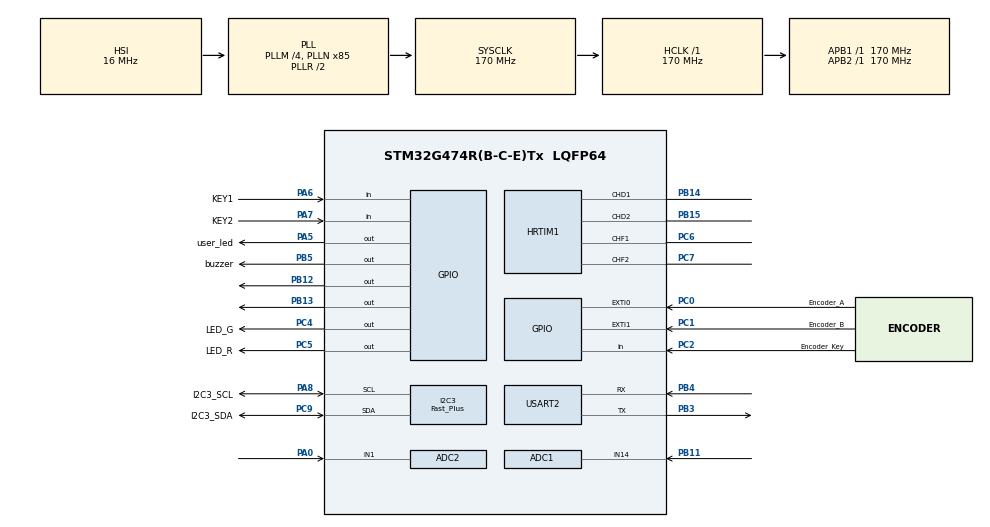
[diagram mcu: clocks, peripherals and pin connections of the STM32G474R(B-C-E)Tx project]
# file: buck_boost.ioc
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ADC1.Channel-2\#ChannelRegularConversion=ADC_CHANNEL_14
ADC1.NbrOfConversionFlag=1
ADC1.OffsetNumber-2\#ChannelRegularConversion=ADC_OFFSET_NONE
ADC1.Rank-2\#ChannelRegularConversion=1
ADC1.SamplingTime-2\#ChannelRegularConversion=ADC_SAMPLETIME_2CYCLES_5
ADC1.master=1
ADC2.Channel-0\#ChannelRegularConversion=ADC_CHANNEL_1
ADC2.NbrOfConversionFlag=1
ADC2.OffsetNumber-0\#ChannelRegularConversion=ADC_OFFSET_NONE
ADC2.Rank-0\#ChannelRegularConversion=1
ADC2.SamplingTime-0\#ChannelRegularConversion=ADC_SAMPLETIME_2CYCLES_5
ADC5.Channel-0\#ChannelRegularConversion=ADC_CHANNEL_TEMPSENSOR_ADC5
ADC5.NbrOfConversionFlag=1
ADC5.OffsetNumber-0\#ChannelRegularConversion=ADC_OFFSET_NONE
ADC5.Rank-0\#ChannelRegularConversion=1
ADC5.SamplingTime-0\#ChannelRegularConversion=ADC_SAMPLETIME_2CYCLES_5
Dma.ADC1.0.Direction=DMA_PERIPH_TO_MEMORY
Dma.ADC1.0.EventEnable=DISABLE
Dma.ADC1.0.Instance=DMA1_Channel1
Dma.ADC1.0.MemDataAlignment=DMA_MDATAALIGN_HALFWORD
Dma.ADC1.0.MemInc=DMA_MINC_ENABLE
Dma.ADC1.0.Mode=DMA_CIRCULAR
Dma.ADC1.0.PeriphDataAlignment=DMA_PDATAALIGN_HALFWORD
Dma.ADC1.0.PeriphInc=DMA_PINC_DISABLE
Dma.ADC1.0.Polarity=HAL_DMAMUX_REQ_GEN_RISING
Dma.ADC1.0.Priority=DMA_PRIORITY_LOW
Dma.ADC1.0.RequestNumber=1
Dma.ADC1.0.SignalID=NONE
Dma.ADC1.0.SyncEnable=DISABLE
Dma.ADC1.0.SyncPolarity=HAL_DMAMUX_SYNC_NO_EVENT
Dma.ADC1.0.SyncRequestNumber=1
Dma.ADC1.0.SyncSignalID=NONE
Dma.Request0=ADC1
Dma.Request1=USART2_RX
Dma.Request2=USART2_TX
Dma.USART2_RX.1.Direction=DMA_PERIPH_TO_MEMORY
Dma.USART2_RX.1.EventEnable=DISABLE
Dma.USART2_RX.1.Instance=DMA1_Channel2
Dma.USART2_RX.1.MemDataAlignment=DMA_MDATAALIGN_BYTE
Dma.USART2_RX.1.MemInc=DMA_MINC_ENABLE
Dma.USART2_RX.1.Mode=DMA_NORMAL
Dma.USART2_RX.1.PeriphDataAlignment=DMA_PDATAALIGN_BYTE
Dma.USART2_RX.1.PeriphInc=DMA_PINC_DISABLE
Dma.USART2_RX.1.Polarity=HAL_DMAMUX_REQ_GEN_RISING
Dma.USART2_RX.1.Priority=DMA_PRIORITY_LOW
Dma.USART2_RX.1.RequestNumber=1
Dma.USART2_RX.1.SignalID=NONE
Dma.USART2_RX.1.SyncEnable=DISABLE
Dma.USART2_RX.1.SyncPolarity=HAL_DMAMUX_SYNC_NO_EVENT
Dma.USART2_RX.1.SyncRequestNumber=1
Dma.USART2_RX.1.SyncSignalID=NONE
Dma.USART2_TX.2.Direction=DMA_MEMORY_TO_PERIPH
Dma.USART2_TX.2.EventEnable=DISABLE
Dma.USART2_TX.2.Instance=DMA1_Channel3
Dma.USART2_TX.2.MemDataAlignment=DMA_MDATAALIGN_BYTE
Dma.USART2_TX.2.MemInc=DMA_MINC_ENABLE
Dma.USART2_TX.2.Mode=DMA_NORMAL
Dma.USART2_TX.2.PeriphDataAlignment=DMA_PDATAALIGN_BYTE
Dma.USART2_TX.2.PeriphInc=DMA_PINC_DISABLE
Dma.USART2_TX.2.Polarity=HAL_DMAMUX_REQ_GEN_RISING
Dma.USART2_TX.2.Priority=DMA_PRIORITY_LOW
Dma.USART2_TX.2.RequestNumber=1
Dma.USART2_TX.2.SignalID=NONE
Dma.USART2_TX.2.SyncEnable=DISABLE
Dma.USART2_TX.2.SyncPolarity=HAL_DMAMUX_SYNC_NO_EVENT
Dma.USART2_TX.2.SyncRequestNumber=1
Dma.USART2_TX.2.SyncSignalID=NONE
FREERTOS.Tasks01=Sys_LED_Task,8,128,StartDefaultTask,Default,NULL,Dynamic,NULL,NULL;KEY_Task,40,128,StartTask02,Default,NULL,Dynamic,NULL,NULL
HRTIM1.CompareUnit1-Output_TD1TD2=HRTIM_COMPAREUNIT_1
HRTIM1.CompareUnit2-Output_TD1TD2=__NULL
HRTIM1.CompareUnit3-Output_TD1TD2=HRTIM_COMPAREUNIT_3
HRTIM1.CompareUnit4-Output_TD1TD2=__NULL
HRTIM1.CompareValue1-Output_TD1TD2=15000
HRTIM1.CompareValue3-Output_TD1TD2=7500
HRTIM1.DeadTimeInsertion-Output_TD1TD2=HRTIM_TIMDEADTIMEINSERTION_ENABLED
HRTIM1.FallingLock-Output_TD1TD2=HRTIM_TIMDEADTIME_FALLINGLOCK_READONLY
HRTIM1.FallingSignLock-Output_TD1TD2=HRTIM_TIMDEADTIME_FALLINGSIGNLOCK_READONLY
HRTIM1.FallingValue-Output_TD1TD2=100
HRTIM1.InterruptRequests1-Output_TD1TD2=HRTIM_TIM_IT_CMP1
HRTIM1.NumberInterruptRequests-Output_TD1TD2=1
HRTIM1.NumberResetSource1-Output_TD1TD2=1
HRTIM1.NumberSetSource1-Output_TD1TD2=1
HRTIM1.Periode_TD=30000
HRTIM1.Periode_TF=30000
HRTIM1.PreloadEnable-Output_TD1TD2=HRTIM_PRELOAD_ENABLED
HRTIM1.RepetitionUpdate-Output_TD1TD2=HRTIM_UPDATEONREPETITION_ENABLED
HRTIM1.RepetitionUpdate-Output_TF1TF2=HRTIM_UPDATEONREPETITION_ENABLED
HRTIM1.ResetOutput1_Source1-Output_TD1TD2=HRTIM_OUTPUTRESET_TIMCMP1
HRTIM1.RisingLock-Output_TD1TD2=HRTIM_TIMDEADTIME_RISINGLOCK_READONLY
HRTIM1.RisingSignLock-Output_TD1TD2=HRTIM_TIMDEADTIME_RISINGSIGNLOCK_READONLY
HRTIM1.RisingValue-Output_TD1TD2=137
HRTIM1.SetOutput1_Source1-Output_TD1TD2=HRTIM_OUTPUTSET_TIMPER
I2C3.I2C_Speed_Mode=I2C_Fast_Plus
I2C3.Timing=0x4052060F
Mcu.Family=STM32G4
Mcu.Name=STM32G474R(B-C-E)Tx
Mcu.Package=LQFP64
NVIC.ADC1_2_IRQn=true\:5\:0\:false\:false\:true\:true\:true\:true\:true
NVIC.DMA1_Channel1_IRQn=true\:5\:0\:false\:false\:true\:true\:false\:true\:true
NVIC.DMA1_Channel2_IRQn=true\:5\:0\:false\:false\:true\:true\:false\:true\:true
NVIC.DMA1_Channel3_IRQn=true\:5\:0\:false\:false\:true\:true\:false\:true\:true
NVIC.EXTI0_IRQn=true\:6\:0\:true\:false\:true\:true\:true\:true\:true
NVIC.EXTI1_IRQn=true\:6\:0\:true\:false\:true\:true\:true\:true\:true
NVIC.HRTIM1_TIMD_IRQn=true\:5\:0\:true\:false\:true\:true\:true\:true\:true
NVIC.HRTIM1_TIMF_IRQn=true\:5\:0\:false\:false\:true\:true\:true\:true\:true
NVIC.PriorityGroup=NVIC_PRIORITYGROUP_4
NVIC.TIM1_UP_TIM16_IRQn=true\:15\:0\:false\:false\:true\:false\:false\:true\:true
NVIC.TimeBase=TIM1_UP_TIM16_IRQn
NVIC.TimeBaseIP=TIM1
NVIC.USART2_IRQn=true\:5\:0\:false\:false\:true\:true\:true\:true\:true
PA0.Mode=IN1-Single-Ended
PA0.Signal=ADC2_IN1
PA5.GPIO_Label=user_led
PA5.GPIO_Speed=GPIO_SPEED_FREQ_MEDIUM
PA5.PinState=GPIO_PIN_RESET
PA5.Signal=GPIO_Output
PA6.GPIO_Label=KEY1
PA6.Signal=GPIO_Input
PA7.GPIO_Label=KEY2
PA7.Signal=GPIO_Input
PA8.GPIO_Label=I2C3_SCL
PA8.GPIO_Pu=GPIO_PULLUP
PA8.GPIO_Speed=GPIO_SPEED_FREQ_VERY_HIGH
PA8.Mode=I2C
PA8.Signal=I2C3_SCL
PB11.Mode=IN14-Single-Ended
PB11.Signal=ADC1_IN14
PB12.Signal=GPIO_Output
PB13.Signal=GPIO_Output
PB14.Mode=Output_TD1TD2
PB14.Signal=HRTIM1_CHD1
PB15.Mode=Output_TD1TD2
PB15.Signal=HRTIM1_CHD2
PB3.Mode=Asynchronous
PB3.Signal=USART2_TX
PB4.Mode=Asynchronous
PB4.Signal=USART2_RX
PB5.GPIO_Label=buzzer
PB5.GPIO_Speed=GPIO_SPEED_FREQ_MEDIUM
PB5.PinState=GPIO_PIN_SET
PB5.Signal=GPIO_Output
PC0.GPIO_Label=Encoder_A
PC0.GPIO_ModeDefaultEXTI=GPIO_MODE_IT_FALLING
PC0.Signal=GPXTI0
PC1.GPIO_Label=Encoder_B
PC1.GPIO_ModeDefaultEXTI=GPIO_MODE_IT_FALLING
PC1.Signal=GPXTI1
PC14-OSC32_IN.Mode=LSE-External-Oscillator
PC14-OSC32_IN.Signal=RCC_OSC32_IN
PC15-OSC32_OUT.Mode=LSE-External-Oscillator
PC15-OSC32_OUT.Signal=RCC_OSC32_OUT
PC2.GPIO_Label=Encoder_Key
PC2.GPIO_PuPd=GPIO_NOPULL
PC2.Signal=GPIO_Input
PC4.GPIO_Label=LED_G
PC4.GPIO_Speed=GPIO_SPEED_FREQ_MEDIUM
PC4.PinState=GPIO_PIN_SET
PC4.Signal=GPIO_Output
PC5.GPIO_Label=LED_R
PC5.GPIO_Speed=GPIO_SPEED_FREQ_MEDIUM
PC5.PinState=GPIO_PIN_SET
PC5.Signal=GPIO_Output
PC6.Mode=Output_TF1TF2
PC6.Signal=HRTIM1_CHF1
PC7.Mode=Output_TF1TF2
PC7.Signal=HRTIM1_CHF2
PC9.GPIO_Label=I2C3_SDA
PC9.GPIO_Pu=GPIO_PULLUP
PC9.GPIO_Speed=GPIO_SPEED_FREQ_VERY_HIGH
PC9.Mode=I2C
PC9.Signal=I2C3_SDA
PF0-OSC_IN.Mode=HSE-External-Oscillator
PF0-OSC_IN.Signal=RCC_OSC_IN
PF1-OSC_OUT.Mode=HSE-External-Oscillator
PF1-OSC_OUT.Signal=RCC_OSC_OUT
ProjectManager.HeapSize=0x200
ProjectManager.StackSize=0x400
ProjectManager.TargetToolchain=CMake
RCC.ADC12Freq_Value=170000000
RCC.ADC345Freq_Value=170000000
RCC.AHBFreq_Value=170000000
RCC.APB1Freq_Value=170000000
RCC.APB1TimFreq_Value=170000000
RCC.APB2Freq_Value=170000000
RCC.APB2TimFreq_Value=170000000
RCC.CortexFreq_Value=170000000
RCC.EXTERNAL_CLOCK_VALUE=12288000
RCC.HCLKFreq_Value=170000000
RCC.HSE_VALUE=25000000
RCC.HSI48_VALUE=48000000
RCC.HSI_VALUE=16000000
RCC.PLLM=RCC_PLLM_DIV4
RCC.PLLN=85
RCC.SYSCLKFreq_VALUE=170000000
RCC.SYSCLKSource=RCC_SYSCLKSOURCE_PLLCLK
RCC.USBFreq_Value=170000000
RCC.VCOOutputFreq_Value=340000000
USART2.VirtualMode-Asynchronous=VM_ASYNC
VP_ADC5_TempSens_Input.Mode=IN-TempSens
VP_FREERTOS_VS_CMSIS_V2.Mode=CMSIS_V2
VP_SYS_VS_DBSignals.Mode=DisableDeadBatterySignals
VP_SYS_VS_tim1.Mode=TIM1
board=custom

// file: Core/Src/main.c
/* USER CODE BEGIN Header */
/**
  ******************************************************************************
  * @file           : main.c
  * @brief          : Main program body
  ******************************************************************************
  * @attention
  *
  * Copyright (c) 2025 STMicroelectronics.
  * All rights reserved.
  *
  * This software is licensed under terms that can be found in the LICENSE file
  * in the root directory of this software component.
  * If no LICENSE file comes with this software, it is provided AS-IS.
  *
  ******************************************************************************
  */
/* USER CODE END Header */
#include "main.h"
#include "cmsis_os.h"
#include "adc.h"
#include "dma.h"
#include "hrtim.h"
#include "i2c.h"
#include "usart.h"
#include "gpio.h"

/* USER CODE BEGIN Includes */
#include "config.h"
/* USER CODE END Includes */

void SystemClock_Config(void);
void MX_FREERTOS_Init(void);

int main(void)
{

  /* MCU Configuration--------------------------------------------------------*/

  /* Reset of all peripherals, Initializes the Flash interface and the Systick. */
  HAL_Init();

  /* Configure the system clock */
  SystemClock_Config();

  /* Initialize all configured peripherals */
  MX_GPIO_Init();
  MX_DMA_Init();
  MX_HRTIM1_Init();
  MX_I2C3_Init();
  MX_USART2_UART_Init();
  MX_ADC1_Init();
  MX_ADC5_Init();
  MX_ADC2_Init();
  /* USER CODE BEGIN 2 */
	HAL_GPIO_WritePin(user_led_GPIO_Port,user_led_Pin,GPIO_PIN_SET);
	HAL_HRTIM_WaveformCountStart(&hhrtim1, HRTIM_TIMERID_TIMER_D); //pwm波输出
  HAL_HRTIM_WaveformOutputStart(&hhrtim1, HRTIM_OUTPUT_TD1 | HRTIM_OUTPUT_TD2); // to generate pwm wave .
	HAL_GPIO_WritePin(buzzer_GPIO_Port,buzzer_Pin,GPIO_PIN_RESET);
	OLED_Init();
	OLED_Clear();
	OLED_Update();
	HAL_GPIO_WritePin(LED_G_GPIO_Port,LED_G_Pin,GPIO_PIN_SET);
	HAL_GPIO_WritePin(LED_R_GPIO_Port,LED_R_Pin,GPIO_PIN_SET);
	page_task();//OLED屏幕初始化显示
  HAL_ADC_Start_DMA(&hadc1, (uint32_t*)adc1_buf, 1);
  HAL_UARTEx_ReceiveToIdle_DMA(&huart2,(uint8_t *)&u1.DATA,1);
  HAL_ADC_Stop(&hadc1); // 重置ADC状态
  HAL_ADC_Stop(&hadc2); // 重置ADC状态
  HAL_ADC_Stop(&hadc5); // 重置ADC状态
  HAL_ADCEx_Calibration_Start(&hadc1, ADC_SINGLE_ENDED); // 校准ADC1
  HAL_ADCEx_Calibration_Start(&hadc2, ADC_SINGLE_ENDED); // 校准ADC1
  HAL_ADCEx_Calibration_Start(&hadc5, ADC_SINGLE_ENDED); // 校准ADC1
  /* USER CODE END 2 */

  /* Init scheduler */
  osKernelInitialize();  /* Call init function for freertos objects (in cmsis_os2.c) */
  MX_FREERTOS_Init();

  /* Start scheduler */
  osKernelStart();

  /* We should never get here as control is now taken by the scheduler */

  /* Infinite loop */
  while (1)
  {

  }
}

void SystemClock_Config(void)
{
  RCC_OscInitTypeDef RCC_OscInitStruct = {0};
  RCC_ClkInitTypeDef RCC_ClkInitStruct = {0};

  /** Configure the main internal regulator output voltage
  */
  HAL_PWREx_ControlVoltageScaling(PWR_REGULATOR_VOLTAGE_SCALE1_BOOST);

  /** Initializes the RCC Oscillators according to the specified parameters
  * in the RCC_OscInitTypeDef structure.
  */
  RCC_OscInitStruct.OscillatorType = RCC_OSCILLATORTYPE_HSI;
  RCC_OscInitStruct.HSIState = RCC_HSI_ON;
  RCC_OscInitStruct.HSICalibrationValue = RCC_HSICALIBRATION_DEFAULT;
  RCC_OscInitStruct.PLL.PLLState = RCC_PLL_ON;
  RCC_OscInitStruct.PLL.PLLSource = RCC_PLLSOURCE_HSI;
  RCC_OscInitStruct.PLL.PLLM = RCC_PLLM_DIV4;
  RCC_OscInitStruct.PLL.PLLN = 85;
  RCC_OscInitStruct.PLL.PLLP = RCC_PLLP_DIV2;
  RCC_OscInitStruct.PLL.PLLQ = RCC_PLLQ_DIV2;
  RCC_OscInitStruct.PLL.PLLR = RCC_PLLR_DIV2;
  if (HAL_RCC_OscConfig(&RCC_OscInitStruct) != HAL_OK)
  {
    Error_Handler();
  }

  /** Initializes the CPU, AHB and APB buses clocks
  */
  RCC_ClkInitStruct.ClockType = RCC_CLOCKTYPE_HCLK|RCC_CLOCKTYPE_SYSCLK
                              |RCC_CLOCKTYPE_PCLK1|RCC_CLOCKTYPE_PCLK2;
  RCC_ClkInitStruct.SYSCLKSource = RCC_SYSCLKSOURCE_PLLCLK;
  RCC_ClkInitStruct.AHBCLKDivider = RCC_SYSCLK_DIV1;
  RCC_ClkInitStruct.APB1CLKDivider = RCC_HCLK_DIV1;
  RCC_ClkInitStruct.APB2CLKDivider = RCC_HCLK_DIV1;

  if (HAL_RCC_ClockConfig(&RCC_ClkInitStruct, FLASH_LATENCY_4) != HAL_OK)
  {
    Error_Handler();
  }
}

void HAL_TIM_PeriodElapsedCallback(TIM_HandleTypeDef *htim)
{
  if (htim->Instance == TIM1)
  {
    HAL_IncTick();
  }
}

void Error_Handler(void)
{
  __disable_irq();
  while (1)
  {
  }
}

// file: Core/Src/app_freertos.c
/* USER CODE BEGIN Header */
/**
  ******************************************************************************
  * File Name          : app_freertos.c
  * Description        : Code for freertos applications
  ******************************************************************************
  * @attention
  *
  * Copyright (c) 2025 STMicroelectronics.
  * All rights reserved.
  *
  * This software is licensed under terms that can be found in the LICENSE file
  * in the root directory of this software component.
  * If no LICENSE file comes with this software, it is provided AS-IS.
  *
  ******************************************************************************
  */
/* USER CODE END Header */

#include "FreeRTOS.h"
#include "task.h"
#include "main.h"
#include "cmsis_os.h"

/* USER CODE BEGIN Includes */
#include "hrtim.h"
#include "queue.h"
#include "config.h"
#include <stdint.h>
#include <stdio.h>
#include <sys/types.h>
/* USER CODE END Includes */

/* USER CODE BEGIN PD */
uint8_t encoder_flag = 0;
/* USER CODE END PD */

/* Definitions for Sys_LED_Task */
osThreadId_t Sys_LED_TaskHandle;
const osThreadAttr_t Sys_LED_Task_attributes = {
  .name = "Sys_LED_Task",
  .priority = (osPriority_t) osPriorityLow,
  .stack_size = 128 * 4
};
/* Definitions for KEY_Task */
osThreadId_t KEY_TaskHandle;
const osThreadAttr_t KEY_Task_attributes = {
  .name = "KEY_Task",
  .priority = (osPriority_t) osPriorityHigh,
  .stack_size = 128 * 4
};

/* USER CODE BEGIN FunctionPrototypes */
	xQueueHandle  DataQueue;

	int _write(int fd, char *ptr, int len)
  {
    HAL_UART_Transmit(&huart2, (uint8_t*)ptr, len, 0xFFFF);
    return len;
  }

/* USER CODE END FunctionPrototypes */

void StartDefaultTask(void *argument);
void StartTask02(void *argument);

void MX_FREERTOS_Init(void); /* (MISRA C 2004 rule 8.1) */

void MX_FREERTOS_Init(void) {
  /* USER CODE BEGIN Init */
	DataQueue = xQueueCreate(2,9);
  /* USER CODE END Init */

  /* Create the thread(s) */
  /* creation of Sys_LED_Task */
  Sys_LED_TaskHandle = osThreadNew(StartDefaultTask, NULL, &Sys_LED_Task_attributes);

  /* creation of KEY_Task */
  KEY_TaskHandle = osThreadNew(StartTask02, NULL, &KEY_Task_attributes);

}

void StartDefaultTask(void *argument)
{
  /* USER CODE BEGIN StartDefaultTask */
  /* Infinite loop */
  for(;;)
  {
		//System LED ,When you run this code ,the light will sprinkle.
     //HAL_GPIO_TogglePin(user_led_GPIO_Port,user_led_Pin);
     page_task();
     VinSwUVP();
    adc_sample();
    // printf("adc1 value=%.2f\r\n",adc1_buf[0]*3.3f/4095.0f/(4.7f/75.0f));
    osDelay(10);//delay 200ms
  }
  /* USER CODE END StartDefaultTask */
}

void StartTask02(void *argument)
{
  /* USER CODE BEGIN StartTask02 */
  /* Infinite loop */
  for(;;)
  {
    key_Task();
    if(key[1].flag == 1)
    {
      select_flag+=1;
      if (select_flag >4)
      {
        select_flag =0;
      }
      page_task();
      duty_value+=5000;
      HRTIM1->sTimerxRegs[HRTIM_TIMERINDEX_TIMER_D].CMP1xR = duty_value;
      if (duty_value>30000)
      {
        duty_value =0;
      }
      key[1].flag =0;
    }
    else if (key[2].flag == 1)
    {

      key[2].flag =0;
    }
    command_Task();
    osDelay(50);
  }
  /* USER CODE END StartTask02 */
}

/* USER CODE BEGIN Application */
//EC11旋转编码器
void HAL_GPIO_EXTI_Callback(uint16_t GPIO_Pin)
{

  if(GPIO_Pin == Encoder_A_Pin)
  {
     if(HAL_GPIO_ReadPin(Encoder_A_GPIO_Port, Encoder_A_Pin)==GPIO_PIN_RESET)
      {
        if(HAL_GPIO_ReadPin(Encoder_B_GPIO_Port, Encoder_B_Pin)==GPIO_PIN_RESET)
        {
            ECC11_Statues = 1;
        }
      }
  }
  else if(GPIO_Pin == Encoder_B_Pin)
  {
     if(HAL_GPIO_ReadPin(Encoder_B_GPIO_Port, Encoder_B_Pin)==GPIO_PIN_RESET)
      {
        if(HAL_GPIO_ReadPin(Encoder_A_GPIO_Port, Encoder_A_Pin)==GPIO_PIN_RESET)
        {
            ECC11_Statues = 2;
        }
      }
  }
}
/* USER CODE END Application */
